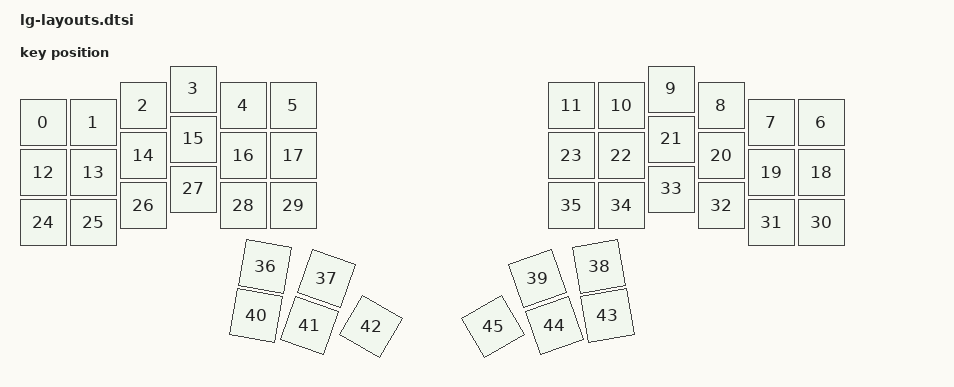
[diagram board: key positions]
// See https://zmk.dev/docs/development/hardware-integration/physical-layouts
// for how to configure this.

#include <physical_layouts.dtsi>

/ {
    physical_layout: physical_layout_0 {
        compatible = "zmk,physical-layout";
        display-name = "Default Layout";
        kscan = <&kscan0>;
        transform = <&default_transform>;
        keys  //                     w   h    x    y     rot    rx    ry
            = <&key_physical_attrs 100 100    0   67       0     0     0> 
            , <&key_physical_attrs 100 100  100   67       0     0     0>
            , <&key_physical_attrs 100 100  200   33       0     0     0>
            , <&key_physical_attrs 100 100  300    0       0     0     0>
            , <&key_physical_attrs 100 100  400   33       0     0     0>
            , <&key_physical_attrs 100 100  500   33       0     0     0>
            , <&key_physical_attrs 100 100 1556   67       0     0     0>
            , <&key_physical_attrs 100 100 1456   67       0     0     0>
            , <&key_physical_attrs 100 100 1356   33       0     0     0>
            , <&key_physical_attrs 100 100 1256    0       0     0     0>
            , <&key_physical_attrs 100 100 1156   33       0     0     0>
            , <&key_physical_attrs 100 100 1056   33       0     0     0>
            , <&key_physical_attrs 100 100    0  167       0     0     0>
            , <&key_physical_attrs 100 100  100  167       0     0     0>
            , <&key_physical_attrs 100 100  200  133       0     0     0>
            , <&key_physical_attrs 100 100  300  100       0     0     0>
            , <&key_physical_attrs 100 100  400  133       0     0     0>
            , <&key_physical_attrs 100 100  500  133       0     0     0>
            , <&key_physical_attrs 100 100 1556  167       0     0     0>
            , <&key_physical_attrs 100 100 1456  167       0     0     0>
            , <&key_physical_attrs 100 100 1356  133       0     0     0>
            , <&key_physical_attrs 100 100 1256  100       0     0     0>
            , <&key_physical_attrs 100 100 1156  133       0     0     0>
            , <&key_physical_attrs 100 100 1056  133       0     0     0>
            , <&key_physical_attrs 100 100    0  267       0     0     0>
            , <&key_physical_attrs 100 100  100  267       0     0     0>
            , <&key_physical_attrs 100 100  200  233       0     0     0>
            , <&key_physical_attrs 100 100  300  200       0     0     0>
            , <&key_physical_attrs 100 100  400  233       0     0     0>
            , <&key_physical_attrs 100 100  500  233       0     0     0>
            , <&key_physical_attrs 100 100 1556  267       0     0     0>
            , <&key_physical_attrs 100 100 1456  267       0     0     0>
            , <&key_physical_attrs 100 100 1356  233       0     0     0>
            , <&key_physical_attrs 100 100 1256  200       0     0     0>
            , <&key_physical_attrs 100 100 1156  233       0     0     0>
            , <&key_physical_attrs 100 100 1056  233       0     0     0>
            , <&key_physical_attrs 100 100  444  355    1000   494   405>
            , <&key_physical_attrs 100 100  567  379    2000   617   429>
            , <&key_physical_attrs 100 100 1112  355 (-1000)  1162   405>
            , <&key_physical_attrs 100 100  989  379 (-2000)  1039   429>
            , <&key_physical_attrs 100 100  426  453    1000   476   503>
            , <&key_physical_attrs 100 100  533  473    2000   583   523>
            , <&key_physical_attrs 100 100  656  475    3000   706   525>
            , <&key_physical_attrs 100 100 1129  453 (-1000)  1179   503>
            , <&key_physical_attrs 100 100 1023  473 (-2000)  1073   523>
            , <&key_physical_attrs 100 100  900  475 (-3000)   950   525>
            ;
    };
};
